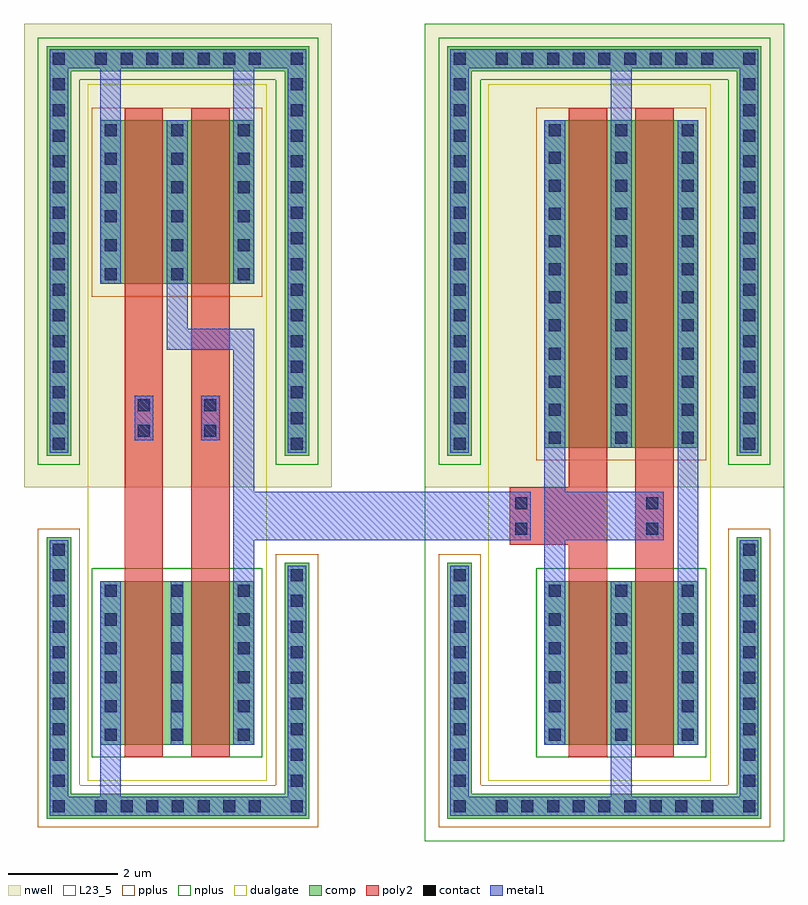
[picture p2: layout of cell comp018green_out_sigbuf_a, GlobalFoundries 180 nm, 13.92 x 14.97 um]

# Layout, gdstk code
from math import pi, radians
import gdstk
lib = gdstk.Library(unit=1e-6, precision=1e-09)
def R(c, l, rs):  # rectangles x0, y0, x1, y1
    for r in rs: c.add(gdstk.rectangle(r[:2], r[2:], *l))
def A(c, l, x, y, w, h, nx, ny, dx, dy):  # array of equal rectangles
    R(c, l, [(x+i*dx, y+j*dy, x+i*dx+w, y+j*dy+h) for i in range(nx) for j in range(ny)])
def P(c, l, *ps):  # polygons
    for p in ps: c.add(gdstk.Polygon(p, *l))
nwell = (21, 0)
comp = (22, 0)
L23_5 = (23, 5)
poly2 = (30, 0)
pplus = (31, 0)
nplus = (32, 0)
contact = (33, 0)
metal1 = (34, 0)
dualgate = (55, 0)

m1_nwell_cdns_4066195314 = lib.new_cell('M1_NWELL_CDNS_40661953145272')
R(m1_nwell_cdns_4066195314, nwell, [(-2.05,-0.64,2.05,0.64)])
R(m1_nwell_cdns_4066195314, comp, [(-1.635,-0.225,1.635,0.225)])
R(m1_nwell_cdns_4066195314, nplus, [(-1.795,-0.385,1.795,0.385)])
A(m1_nwell_cdns_4066195314, contact, -1.52, -0.11, 0.22, 0.22, 7, 1, 0.47, 0)
R(m1_nwell_cdns_4066195314, metal1, [(-1.58,-0.17,1.58,0.17)])

pmos_6p0_cdns_4066195314 = lib.new_cell('pmos_6p0_CDNS_4066195314513')
R(pmos_6p0_cdns_4066195314, nwell, [(-1.04,-0.6,1.74,6.6)])
R(pmos_6p0_cdns_4066195314, comp, [(-0.44,0,-0.08,6), (-0.44,0,1.14,6), (0.78,0,1.14,6)])
R(pmos_6p0_cdns_4066195314, poly2, [(0,-0.22,0.7,6.22), (0,6,0.7,6.22)])
R(pmos_6p0_cdns_4066195314, pplus, [(-0.6,-0.23,1.3,6.23)])
A(pmos_6p0_cdns_4066195314, contact, -0.37, 0.07, 0.22, 0.22, 1, 7, 0, 0.515)
A(pmos_6p0_cdns_4066195314, contact, 0.85, 0.07, 0.22, 0.22, 1, 7, 0, 0.515)
A(pmos_6p0_cdns_4066195314, contact, -0.37, 3.67, 0.22, 0.22, 1, 5, 0, 0.51)
A(pmos_6p0_cdns_4066195314, contact, 0.85, 3.67, 0.22, 0.22, 1, 5, 0, 0.51)
R(pmos_6p0_cdns_4066195314, metal1, [(-0.375,0,-0.145,6), (-0.375,0,-0.145,6), (0.845,0,1.075,6), (0.845,0,1.075,6)])
R(pmos_6p0_cdns_4066195314, dualgate, [(-0.68,-0.62,1.38,6.62)])

c_pmos_6p0_cdns_4066195314 = lib.new_cell('pmos_6p0_CDNS_4066195314512')
R(c_pmos_6p0_cdns_4066195314, nwell, [(-1.04,-0.6,1.74,3.6)])
R(c_pmos_6p0_cdns_4066195314, comp, [(-0.44,0,-0.08,3), (-0.44,0,1.14,3), (0.78,0,1.14,3)])
R(c_pmos_6p0_cdns_4066195314, poly2, [(0,-0.22,0.7,3.22), (0,3,0.7,3.22)])
R(c_pmos_6p0_cdns_4066195314, pplus, [(-0.6,-0.23,1.3,3.23)])
A(c_pmos_6p0_cdns_4066195314, contact, -0.37, 0.07, 0.22, 0.22, 1, 4, 0, 0.53)
A(c_pmos_6p0_cdns_4066195314, contact, 0.85, 0.07, 0.22, 0.22, 1, 4, 0, 0.53)
R(c_pmos_6p0_cdns_4066195314, contact, [(-0.37,2.185,-0.15,2.405), (0.85,2.185,1.07,2.405), (-0.37,2.71,-0.15,2.93), (0.85,2.71,1.07,2.93)])
R(c_pmos_6p0_cdns_4066195314, metal1, [(-0.375,0,-0.145,3), (-0.375,0,-0.145,3), (0.845,0,1.075,3), (0.845,0,1.075,3)])
R(c_pmos_6p0_cdns_4066195314, dualgate, [(-0.68,-0.62,1.38,3.62)])

nmos_6p0_cdns_4066195314 = lib.new_cell('nmos_6p0_CDNS_4066195314511')
R(nmos_6p0_cdns_4066195314, comp, [(-0.44,0,-0.08,3), (-0.44,0,1.14,3), (0.78,0,1.14,3)])
R(nmos_6p0_cdns_4066195314, poly2, [(0,-0.22,0.7,3.22), (0,3,0.7,3.22)])
R(nmos_6p0_cdns_4066195314, nplus, [(-0.6,-0.23,1.3,3.23)])
A(nmos_6p0_cdns_4066195314, contact, -0.37, 0.07, 0.22, 0.22, 1, 4, 0, 0.53)
A(nmos_6p0_cdns_4066195314, contact, 0.85, 0.07, 0.22, 0.22, 1, 4, 0, 0.53)
R(nmos_6p0_cdns_4066195314, contact, [(-0.37,2.185,-0.15,2.405), (0.85,2.185,1.07,2.405), (-0.37,2.71,-0.15,2.93), (0.85,2.71,1.07,2.93)])
R(nmos_6p0_cdns_4066195314, metal1, [(-0.375,0,-0.145,3), (-0.375,0,-0.145,3), (0.845,0,1.075,3), (0.845,0,1.075,3)])
R(nmos_6p0_cdns_4066195314, dualgate, [(-0.68,-0.62,1.38,3.62)])

c_m1_nwell_cdns_4066195314 = lib.new_cell('M1_NWELL_CDNS_40661953145225')
R(c_m1_nwell_cdns_4066195314, nwell, [(-2.52,-0.64,2.52,0.64)])
R(c_m1_nwell_cdns_4066195314, comp, [(-2.105,-0.225,2.105,0.225)])
R(c_m1_nwell_cdns_4066195314, nplus, [(-2.265,-0.385,2.265,0.385)])
A(c_m1_nwell_cdns_4066195314, contact, -1.99, -0.11, 0.22, 0.22, 9, 1, 0.47, 0)
R(c_m1_nwell_cdns_4066195314, metal1, [(-2.05,-0.17,2.05,0.17)])

c_m1_nwell_cdns_4066195314_ = lib.new_cell('M1_NWELL_CDNS_40661953145223')
R(c_m1_nwell_cdns_4066195314_, nwell, [(-0.64,-4.165,0.64,4.165)])
R(c_m1_nwell_cdns_4066195314_, comp, [(-0.225,-3.75,0.225,3.75)])
R(c_m1_nwell_cdns_4066195314_, nplus, [(-0.385,-3.91,0.385,3.91)])
A(c_m1_nwell_cdns_4066195314_, contact, -0.11, -3.635, 0.22, 0.22, 1, 16, 0, 0.47)
R(c_m1_nwell_cdns_4066195314_, metal1, [(-0.17,-3.695,0.17,3.695)])

m1_psub_cdns_69033583165 = lib.new_cell('M1_PSUB_CDNS_69033583165609')
R(m1_psub_cdns_69033583165, comp, [(-0.225,-2.575,0.225,2.575)])
R(m1_psub_cdns_69033583165, pplus, [(-0.385,-2.735,0.385,2.735)])
A(m1_psub_cdns_69033583165, contact, -0.11, -2.46, 0.22, 0.22, 1, 11, 0, 0.47)
R(m1_psub_cdns_69033583165, metal1, [(-0.17,-2.52,0.17,2.52)])

m1_poly2_cdns_6903358316 = lib.new_cell('M1_POLY2_CDNS_69033583165610')
R(m1_poly2_cdns_6903358316, poly2, [(-0.21,-0.445,0.21,0.445)])
R(m1_poly2_cdns_6903358316, contact, [(-0.11,-0.345,0.11,-0.125), (-0.11,0.125,0.11,0.345)])
R(m1_poly2_cdns_6903358316, metal1, [(-0.17,-0.405,0.17,0.405)])

c_m1_psub_cdns_69033583165 = lib.new_cell('M1_PSUB_CDNS_69033583165611')
R(c_m1_psub_cdns_69033583165, comp, [(-0.225,-2.34,0.225,2.34)])
R(c_m1_psub_cdns_69033583165, pplus, [(-0.385,-2.5,0.385,2.5)])
A(c_m1_psub_cdns_69033583165, contact, -0.11, -2.225, 0.22, 0.22, 1, 10, 0, 0.47)
R(c_m1_psub_cdns_69033583165, metal1, [(-0.17,-2.285,0.17,2.285)])

c_m1_psub_cdns_69033583165_ = lib.new_cell('M1_PSUB_CDNS_69033583165612')
R(c_m1_psub_cdns_69033583165_, comp, [(-2.105,-0.225,2.105,0.225)])
R(c_m1_psub_cdns_69033583165_, pplus, [(-2.265,-0.385,2.265,0.385)])
A(c_m1_psub_cdns_69033583165_, contact, -1.99, -0.11, 0.22, 0.22, 9, 1, 0.47, 0)
R(c_m1_psub_cdns_69033583165_, metal1, [(-2.05,-0.17,2.05,0.17)])

c_m1_psub_cdns_69033583165__ = lib.new_cell('M1_PSUB_CDNS_69033583165694')
R(c_m1_psub_cdns_69033583165__, comp, [(-1.635,-0.225,1.635,0.225)])
R(c_m1_psub_cdns_69033583165__, pplus, [(-1.795,-0.385,1.795,0.385)])
A(c_m1_psub_cdns_69033583165__, contact, -1.52, -0.11, 0.22, 0.22, 7, 1, 0.47, 0)
R(c_m1_psub_cdns_69033583165__, metal1, [(-1.58,-0.17,1.58,0.17)])

comp018green_out_sigbuf_ = lib.new_cell('comp018green_out_sigbuf_a')
R(comp018green_out_sigbuf_, nwell, [(-0.415,6.065,5.225,14.555), (6.925,6.065,13.505,14.555)])
R(comp018green_out_sigbuf_, comp, [(0.45,0,0.77,0.45), (4.04,0,4.36,0.45), (7.79,0,8.11,0.45), (12.32,0,12.64,0.45), (0.45,13.69,0.77,14.14), (4.04,13.69,4.36,14.14), (7.79,13.69,8.11,14.14), (12.32,13.69,12.64,14.14)])
R(comp018green_out_sigbuf_, L23_5, [(6.925,-0.415,13.505,14.555)])
R(comp018green_out_sigbuf_, poly2, [(1.43,4.57,2.13,9.57), (2.65,4.57,3.35,9.57), (10.785,4.57,11.485,6.57)])
P(comp018green_out_sigbuf_, poly2, [(9.565,4.57),(9.565,5.01),(8.485,5.01),(8.485,6.065),(9.565,6.065),(9.565,6.57),(10.265,6.57),(10.265,4.57)])
R(comp018green_out_sigbuf_, metal1, [(0.395,0.055,0.825,0.395), (3.985,0.055,4.415,0.395), (7.735,0.055,8.165,0.395), (12.265,0.055,12.695,0.395), (3.795,5.095,8.865,5.985), (9.115,5.095,11.305,5.985), (0.395,13.745,0.825,14.085), (3.985,13.745,4.415,14.085), (7.735,13.745,8.165,14.085), (12.265,13.745,12.695,14.085)])
R(comp018green_out_sigbuf_, dualgate, [(0.75,0.69,4.03,13.45), (8.085,0.69,12.165,13.45)])
comp018green_out_sigbuf_.add(gdstk.FlexPath([(1.17,0.21),(1.17,4.35)], 0.38, ends="flush", simple_path=True, layer=34, datatype=0))  # metal1
comp018green_out_sigbuf_.add(gdstk.FlexPath([(11.745,1.35),(11.745,12.79)], 0.38, ends="flush", simple_path=True, layer=34, datatype=0))  # metal1
comp018green_out_sigbuf_.add(gdstk.FlexPath([(10.525,6.79),(10.525,13.935)], 0.38, ends="flush", simple_path=True, layer=34, datatype=0))  # metal1
comp018green_out_sigbuf_.add(gdstk.FlexPath([(9.305,1.35),(9.305,12.79)], 0.38, ends="flush", simple_path=True, layer=34, datatype=0))  # metal1
comp018green_out_sigbuf_.add(gdstk.FlexPath([(1.17,9.79),(1.17,13.935)], 0.38, ends="flush", simple_path=True, layer=34, datatype=0))  # metal1
comp018green_out_sigbuf_.add(gdstk.FlexPath([(10.525,4.35),(10.525,0.195)], 0.38, ends="flush", simple_path=True, layer=34, datatype=0))  # metal1
comp018green_out_sigbuf_.add(gdstk.FlexPath([(3.61,9.79),(3.61,13.935)], 0.38, ends="flush", simple_path=True, layer=34, datatype=0))  # metal1
comp018green_out_sigbuf_.add(gdstk.FlexPath([(2.39,12.79),(2.39,8.78),(3.61,8.78),(3.61,1.35)], 0.38, ends="flush", simple_path=True, layer=34, datatype=0))  # metal1
comp018green_out_sigbuf_.add(gdstk.Reference(m1_nwell_cdns_4066195314, (2.405,13.915)))
comp018green_out_sigbuf_.add(gdstk.Reference(pmos_6p0_cdns_4066195314, (10.785,6.79)))
comp018green_out_sigbuf_.add(gdstk.Reference(pmos_6p0_cdns_4066195314, (9.565,6.79)))
comp018green_out_sigbuf_.add(gdstk.Reference(c_pmos_6p0_cdns_4066195314, (3.35,9.79), rotation=pi, x_reflection=True))
comp018green_out_sigbuf_.add(gdstk.Reference(c_pmos_6p0_cdns_4066195314, (1.43,9.79)))
comp018green_out_sigbuf_.add(gdstk.Reference(nmos_6p0_cdns_4066195314, (10.785,1.35)))
comp018green_out_sigbuf_.add(gdstk.Reference(nmos_6p0_cdns_4066195314, (2.65,1.35)))
comp018green_out_sigbuf_.add(gdstk.Reference(nmos_6p0_cdns_4066195314, (1.43,1.35)))
comp018green_out_sigbuf_.add(gdstk.Reference(nmos_6p0_cdns_4066195314, (9.565,1.35)))
comp018green_out_sigbuf_.add(gdstk.Reference(c_m1_nwell_cdns_4066195314, (10.215,13.915)))
comp018green_out_sigbuf_.add(gdstk.Reference(c_m1_nwell_cdns_4066195314_, (4.585,10.39)))
comp018green_out_sigbuf_.add(gdstk.Reference(c_m1_nwell_cdns_4066195314_, (0.225,10.39)))
comp018green_out_sigbuf_.add(gdstk.Reference(c_m1_nwell_cdns_4066195314_, (7.565,10.39)))
comp018green_out_sigbuf_.add(gdstk.Reference(c_m1_nwell_cdns_4066195314_, (12.865,10.39)))
comp018green_out_sigbuf_.add(gdstk.Reference(m1_psub_cdns_69033583165, (0.225,2.575), x_reflection=True))
comp018green_out_sigbuf_.add(gdstk.Reference(m1_psub_cdns_69033583165, (12.865,2.575), x_reflection=True))
comp018green_out_sigbuf_.add(gdstk.Reference(m1_poly2_cdns_6903358316, (1.78,7.335), rotation=pi, x_reflection=True))
comp018green_out_sigbuf_.add(gdstk.Reference(m1_poly2_cdns_6903358316, (3,7.335), rotation=pi, x_reflection=True))
comp018green_out_sigbuf_.add(gdstk.Reference(m1_poly2_cdns_6903358316, (8.695,5.54)))
comp018green_out_sigbuf_.add(gdstk.Reference(m1_poly2_cdns_6903358316, (11.095,5.54)))
comp018green_out_sigbuf_.add(gdstk.Reference(c_m1_psub_cdns_69033583165, (4.585,2.34), x_reflection=True))
comp018green_out_sigbuf_.add(gdstk.Reference(c_m1_psub_cdns_69033583165, (7.565,2.34), x_reflection=True))
comp018green_out_sigbuf_.add(gdstk.Reference(c_m1_psub_cdns_69033583165_, (10.215,0.225), x_reflection=True))
comp018green_out_sigbuf_.add(gdstk.Reference(c_m1_psub_cdns_69033583165__, (2.405,0.225), x_reflection=True))

lib.write_gds('comp018green_out_sigbuf_a.gds')
